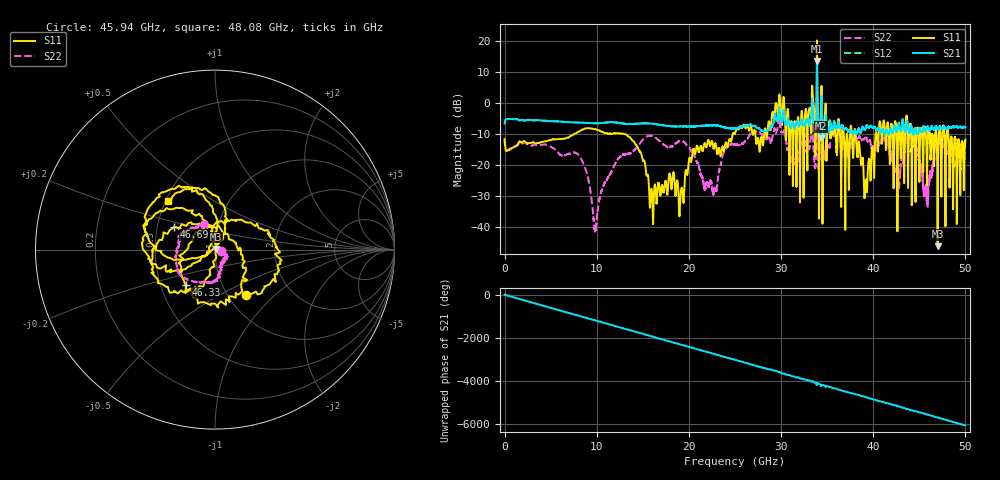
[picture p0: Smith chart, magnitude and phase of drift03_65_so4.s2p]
!Created with skrf (http://scikit-rf.org).
# Hz S RI R 50.0
!freq ReS11 ImS11 ReS21 ImS21 ReS12 ImS12 ReS22 ImS22
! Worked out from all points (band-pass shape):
!   10001 points, 300 kHz to 50 GHz, reference 50 ohm
!   highest |S21| = 13.66 dB at 33.9 GHz (marker M1); lowest = -11.3 dB at 34.32 GHz (marker M2)
!   |S21| within 3 dB of the highest: 33.89011 GHz to 33.90454 GHz (14.43 MHz wide, 0.0426 % of centre)
!   lowest |S11| = -46.1 dB at 46.99 GHz (marker M3), VSWR 1.01, Z = 50.4 + j0.298 ohm
!   |S11| at or under -10 dB: start of sweep to 7.489 GHz; 13.13 GHz to 24.74 GHz (11.61 GHz wide, 61.3 % of centre); 38.09 GHz to 40.26 GHz (2.165 GHz wide, 5.53 % of centre) (the widest 3 of 47)
!   |S22| runs from -41.3 to 6.1 dB; largest |S21 - S12| = 0.36
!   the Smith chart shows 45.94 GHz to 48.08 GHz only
!   S11 on the Smith chart (normalised r, x): 45.94 GHz: 1.21, -0.67; 46.33 GHz: 0.67, -0.28; 46.69 GHz: 0.61, +0.17; 48.08 GHz: 0.51, +0.32
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300000  -0.2327 -0.1253  0.4642 0.0822  0.4635 0.0832  -0.2322 -0.1294
1.440291e9  0.2099 0.0649  -0.5475 -0.0294  -0.5481 -0.0292  0.2114 -0.0042
2.915283e9  -0.2123 -0.0877  0.534 0.0515  0.5346 0.0512  -0.2018 0.0404
4.415274e9  0.2053 0.1322  -0.5216 -0.0422  -0.5221 -0.0419  0.1986 -0.0875
8.33525e9  0.2886 -0.2334  0.1459 0.4658  0.1463 0.466  -0.0727 -0.1016
9.840241e9  -0.3648 0.1254  -0.1435 -0.4537  -0.1435 -0.4538  0.00863 0.00213
1.66702e10  0.0271 0.0435  -0.3785 0.2529  -0.378 0.2538  -0.1286 -0.2198
2.500015e10  -0.3263 -0.0149  -0.2542 -0.2964  -0.2537 -0.2979  -0.2121 0.0294
2.895513e10  -0.3269 0.435  -0.2881 0.3264  -0.2986 0.29  0.0665 0.2217
3.006512e10  0.3991 0.265  0.45 -0.1974  0.4543 -0.1835  0.1754 -0.2961
3.171011e10  -0.0944 0.1898  -0.3599 0.3593  -0.361 0.3552  0.066 0.1595
3.33351e10  0.6606 -0.7996  0.2674 -0.8504  0.2674 -0.8314  -0.1871 -0.4298
3.38951e10  -2.442 -10.05  -4.751 0.7995  -4.449 1.001  0.5148 1.952
3.432009e10  -0.7752 -0.00223  -0.1823 0.2006  -0.2438 0.1809  0.1431 -0.0764
3.918506e10  0.0534 0.0151  0.2106 -0.35  0.2169 -0.3429  -0.2686 -0.1312
4.167005e10  -0.2051 0.2996  0.3153 0.00196  0.3157 0.00716  -0.1873 -0.00968
4.594002e10  0.1708 -0.2526  -0.3561 -0.2106  -0.355 -0.2105  0.0312 -0.0062
4.633002e10  -0.1635 -0.1957  -0.3888 0.1619  -0.3926 0.1594  0.0463 -0.0498
4.669002e10  -0.2273 0.1271  -0.1274 0.371  -0.129 0.3701  -0.00341 -0.1757
4.699002e10  0.00398 0.00296  0.098 0.3721  0.0974 0.3697  -0.1348 -0.1749
4.808001e10  -0.2627 0.2701  0.2134 -0.339  0.2136 -0.3427  -0.0601 0.1449
5e10  -0.1239 -0.23  0.1384 0.3855  0.1445 0.3826  -0.0556 -0.1435
